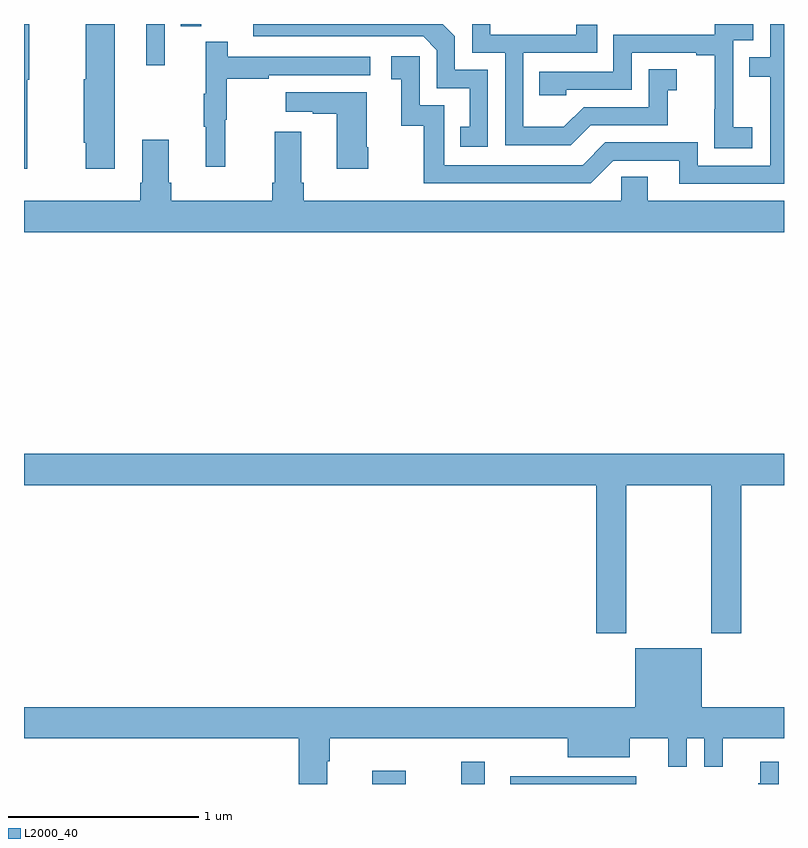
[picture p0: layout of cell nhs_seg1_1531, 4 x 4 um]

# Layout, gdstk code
import gdstk
lib = gdstk.Library(unit=1e-6, precision=1e-09)
def R(c, l, rs):  # rectangles x0, y0, x1, y1
    for r in rs: c.add(gdstk.rectangle(r[:2], r[2:], *l))
def P(c, l, *ps):  # polygons
    for p in ps: c.add(gdstk.Polygon(p, *l))
L2000_40 = (2000, 40)

nhs_seg1_1531 = lib.new_cell('nhs_seg1_1531')
R(nhs_seg1_1531, L2000_40, [(196.832,510.199,197.008,510.268), (197.302,510.199,197.424,510.316), (197.559,510.199,198.223,510.241), (195.644,513.981,195.741,514.199), (195.826,514.186,195.934,514.199)])
P(nhs_seg1_1531, L2000_40, [(195.018,513.906),(195.028,513.906),(195.028,514.199),(195,514.199),(195,513.438),(195.018,513.438)],
  [(198.832,513.655),(198.734,513.655),(198.734,513.884),(198.732,513.884),(198.732,514.113),(198.837,514.113),(198.837,514.199),(198.636,514.199),(198.636,514.143),(198.102,514.143),(198.102,513.948),(197.713,513.948),(197.713,513.825),(197.853,513.825),(197.853,513.852),(198.198,513.852),(198.198,514.047),(198.539,514.047),(198.539,514.035),(198.635,514.035),(198.635,513.751),(198.634,513.751),(198.634,513.545),(198.832,513.545)],
  [(199,514.199),(198.927,514.199),(198.927,514.023),(198.817,514.023),(198.817,513.922),(198.927,513.922),(198.927,513.453),(198.546,513.453),(198.546,513.576),(198.06,513.576),(197.94,513.456),(197.211,513.456),(197.211,513.771),(197.082,513.771),(197.082,514.03),(196.932,514.03),(196.932,513.909),(196.985,513.909),(196.985,513.663),(197.103,513.663),(197.103,513.36),(197.982,513.36),(198.102,513.48),(198.449,513.48),(198.449,513.357),(199,513.357)],
  [(197.442,513.957),(197.268,513.957),(197.268,514.134),(197.203,514.199),(196.206,514.199),(196.206,514.134),(197.1,514.134),(197.172,514.062),(197.172,513.861),(197.345,513.861),(197.345,513.657),(197.296,513.657),(197.296,513.552),(197.442,513.552)],
  [(197.983,513.666),(198.387,513.666),(198.387,513.851),(198.436,513.851),(198.436,513.961),(198.288,513.961),(198.288,513.762),(197.946,513.762),(197.842,513.658),(197.628,513.658),(197.628,514.047),(198.017,514.047),(198.017,514.195),(197.906,514.195),(197.906,514.143),(197.455,514.143),(197.455,514.199),(197.358,514.199),(197.358,514.047),(197.532,514.047),(197.532,513.561),(197.878,513.561)],
  [(195.478,514.199),(195.325,514.199),(195.325,513.909),(195.314,513.909),(195.314,513.573),(195.325,513.573),(195.325,513.438),(195.478,513.438)],
  [(196.058,513.696),(196.066,513.696),(196.066,513.91),(196.289,513.91),(196.289,513.93),(196.822,513.93),(196.822,514.026),(196.073,514.026),(196.073,514.105),(195.956,514.105),(195.956,513.833),(195.945,513.833),(195.945,513.659),(195.956,513.659),(195.956,513.447),(196.058,513.447)],
  [(196.812,513.55),(196.804,513.55),(196.804,513.841),(196.377,513.841),(196.377,513.737),(196.52,513.737),(196.52,513.727),(196.646,513.727),(196.646,513.438),(196.812,513.438)],
  [(199,513.268),(198.283,513.268),(198.283,513.395),(198.144,513.395),(198.144,513.268),(196.472,513.268),(196.472,513.364),(196.459,513.364),(196.459,513.631),(196.319,513.631),(196.319,513.364),(196.307,513.364),(196.307,513.268),(195.776,513.268),(195.776,513.364),(195.763,513.364),(195.763,513.589),(195.623,513.589),(195.623,513.364),(195.611,513.364),(195.611,513.268),(195,513.268),(195,513.104),(199,513.104)],
  [(198.171,511.772),(198.616,511.772),(198.616,510.993),(198.776,510.993),(198.776,511.772),(199,511.772),(199,511.936),(195,511.936),(195,511.772),(198.011,511.772),(198.011,510.993),(198.171,510.993)],
  [(196.597,510.32),(196.61,510.32),(196.61,510.44),(197.861,510.44),(197.861,510.341),(198.187,510.341),(198.187,510.44),(198.392,510.44),(198.392,510.291),(198.489,510.291),(198.489,510.44),(198.579,510.44),(198.579,510.291),(198.677,510.291),(198.677,510.44),(199,510.44),(199,510.604),(198.568,510.604),(198.568,510.913),(198.218,510.913),(198.218,510.604),(195,510.604),(195,510.44),(196.445,510.44),(196.445,510.199),(196.597,510.199)],
  [(198.973,510.316),(198.875,510.316),(198.875,510.203),(198.864,510.203),(198.864,510.199),(198.973,510.199)])

lib.write_gds('nhs_seg1_1531.gds')
